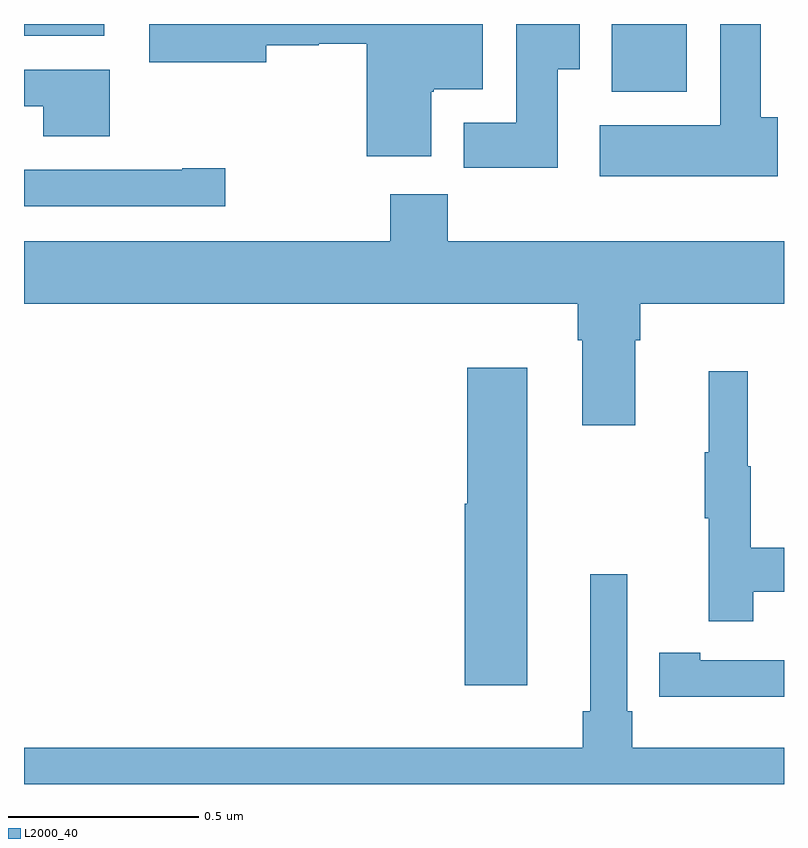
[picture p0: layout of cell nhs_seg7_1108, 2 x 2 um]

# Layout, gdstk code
import gdstk
lib = gdstk.Library(unit=1e-6, precision=1e-09)
def R(c, l, rs):  # rectangles x0, y0, x1, y1
    for r in rs: c.add(gdstk.rectangle(r[:2], r[2:], *l))
def P(c, l, *ps):  # polygons
    for p in ps: c.add(gdstk.Polygon(p, *l))
L2000_40 = (2000, 40)

nhs_seg7_1108 = lib.new_cell('nhs_seg7_1108')
R(nhs_seg7_1108, L2000_40, [(127.547,1019.822,127.744,1020), (126,1019.969,126.211,1020)])
P(nhs_seg7_1108, L2000_40, [(127.405,1019.881),(127.462,1019.881),(127.462,1020),(127.295,1020),(127.295,1019.74),(127.157,1019.74),(127.157,1019.622),(127.405,1019.622)],
  [(127.072,1019.822),(127.078,1019.822),(127.078,1019.828),(127.207,1019.828),(127.207,1020),(126.33,1020),(126.33,1019.9),(126.637,1019.9),(126.637,1019.944),(126.776,1019.944),(126.776,1019.948),(126.902,1019.948),(126.902,1019.652),(127.072,1019.652)],
  [(127.984,1019.754),(127.939,1019.754),(127.939,1020),(127.832,1020),(127.832,1019.734),(127.515,1019.734),(127.515,1019.6),(127.984,1019.6)],
  [(126.226,1019.88),(126,1019.88),(126,1019.784),(126.05,1019.784),(126.05,1019.705),(126.226,1019.705)],
  [(126.529,1019.621),(126.416,1019.621),(126.416,1019.616),(126,1019.616),(126,1019.52),(126.529,1019.52)],
  [(127.609,1019.168),(127.622,1019.168),(127.622,1019.264),(128,1019.264),(128,1019.428),(127.115,1019.428),(127.115,1019.552),(126.964,1019.552),(126.964,1019.428),(126,1019.428),(126,1019.264),(127.457,1019.264),(127.457,1019.168),(127.469,1019.168),(127.469,1018.944),(127.609,1018.944)],
  [(127.324,1019.095),(127.166,1019.095),(127.166,1018.737),(127.16,1018.737),(127.16,1018.26),(127.324,1018.26)],
  [(127.919,1018.506),(128,1018.506),(128,1018.622),(127.912,1018.622),(127.912,1018.836),(127.904,1018.836),(127.904,1019.086),(127.802,1019.086),(127.802,1018.873),(127.791,1018.873),(127.791,1018.699),(127.802,1018.699),(127.802,1018.428),(127.919,1018.428)],
  [(128,1018.096),(127.601,1018.096),(127.601,1018.192),(127.587,1018.192),(127.587,1018.552),(127.49,1018.552),(127.49,1018.192),(127.471,1018.192),(127.471,1018.096),(126,1018.096),(126,1018),(128,1018)],
  [(128,1018.326),(127.78,1018.326),(127.78,1018.346),(127.672,1018.346),(127.672,1018.23),(127.78,1018.23),(127.78,1018.229),(128,1018.229)])

lib.write_gds('nhs_seg7_1108.gds')
